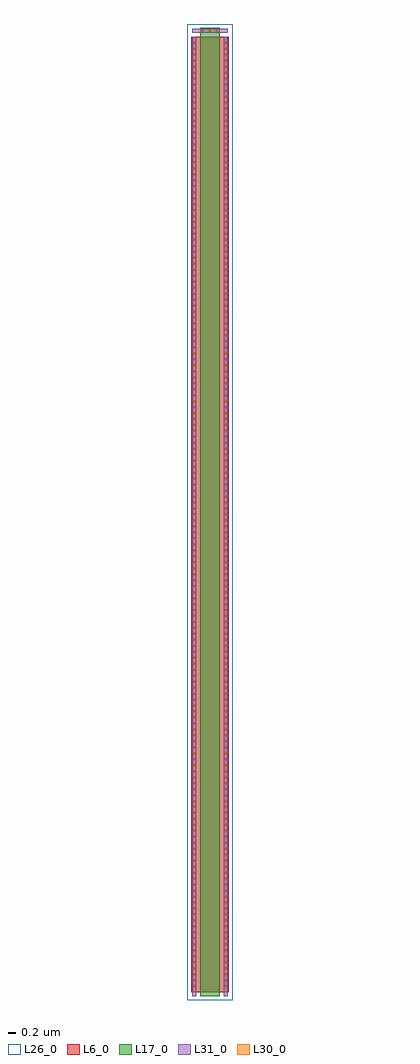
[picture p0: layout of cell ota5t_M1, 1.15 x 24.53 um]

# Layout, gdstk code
import gdstk
lib = gdstk.Library(unit=1e-6, precision=1e-09)
def R(c, l, rs):  # rectangles x0, y0, x1, y1
    for r in rs: c.add(gdstk.rectangle(r[:2], r[2:], *l))
def A(c, l, x, y, w, h, nx, ny, dx, dy):  # array of equal rectangles
    R(c, l, [(x+i*dx, y+j*dy, x+i*dx+w, y+j*dy+h) for i in range(nx) for j in range(ny)])
L6_0 = (6, 0)
L17_0 = (17, 0)
L26_0 = (26, 0)
L30_0 = (30, 0)
L31_0 = (31, 0)

ota5t_m1 = lib.new_cell('ota5t_M1')
R(ota5t_m1, L6_0, [(-0.075,0.05,0.875,24.05)])
R(ota5t_m1, L17_0, [(0.15,-0.05,0.65,24.15), (0.15,24.05,0.65,24.275)])
R(ota5t_m1, L26_0, [(-0.175,-0.15,0.975,24.375)])
A(ota5t_m1, L30_0, -0.025, 0.175, 0.05, 0.05, 1, 159, 0, 0.15)
A(ota5t_m1, L30_0, 0.775, 0.175, 0.05, 0.05, 1, 159, 0, 0.15)
A(ota5t_m1, L30_0, 0.195, 24.175, 0.05, 0.05, 3, 1, 0.175, 0)
R(ota5t_m1, L31_0, [(-0.05,-0.05,0.05,24.05), (0.75,-0.05,0.85,24.05), (-0.05,0.05,0.05,24.05), (0.75,0.05,0.85,24.05), (-0.05,24.15,0.85,24.25), (0.15,24.15,0.65,24.25)])

lib.write_gds('ota5t_M1.gds')
